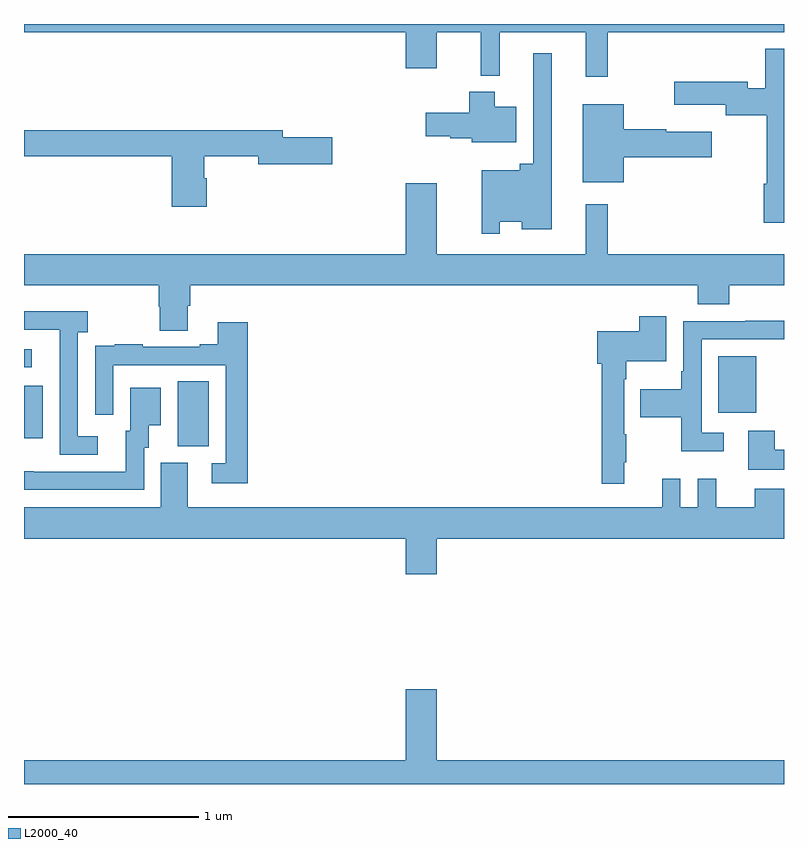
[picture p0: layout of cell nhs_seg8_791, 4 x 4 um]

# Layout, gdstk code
import gdstk
lib = gdstk.Library(unit=1e-6, precision=1e-09)
def R(c, l, rs):  # rectangles x0, y0, x1, y1
    for r in rs: c.add(gdstk.rectangle(r[:2], r[2:], *l))
def P(c, l, *ps):  # polygons
    for p in ps: c.add(gdstk.Polygon(p, *l))
L2000_40 = (2000, 40)

nhs_seg8_791 = lib.new_cell('nhs_seg8_791')
R(nhs_seg8_791, L2000_40, [(163.808,1091.677,163.972,1092.02), (163,1091.721,163.099,1091.995), (166.655,1091.855,166.855,1092.151), (163,1092.093,163.042,1092.189)])
P(nhs_seg8_791, L2000_40, [(163,1093.856),(165.008,1093.856),(165.008,1093.668),(165.172,1093.668),(165.172,1093.856),(165.403,1093.856),(165.403,1093.628),(165.503,1093.628),(165.503,1093.856),(165.956,1093.856),(165.956,1093.623),(166.073,1093.623),(166.073,1093.856),(167,1093.856),(167,1093.9),(163,1093.9)],
  [(167,1093.771),(166.901,1093.771),(166.901,1093.563),(166.81,1093.563),(166.81,1093.597),(166.422,1093.597),(166.422,1093.475),(166.694,1093.475),(166.694,1093.421),(166.909,1093.421),(166.909,1093.058),(166.894,1093.058),(166.894,1092.854),(167,1092.854)],
  [(165.504,1092.86),(165.62,1092.86),(165.62,1092.821),(165.778,1092.821),(165.778,1093.747),(165.681,1093.747),(165.681,1093.165),(165.608,1093.165),(165.608,1093.129),(165.408,1093.129),(165.408,1092.795),(165.504,1092.795)],
  [(165.592,1093.465),(165.478,1093.465),(165.478,1093.543),(165.344,1093.543),(165.344,1093.432),(165.114,1093.432),(165.114,1093.31),(165.243,1093.31),(165.243,1093.298),(165.356,1093.298),(165.356,1093.277),(165.592,1093.277)],
  [(166.156,1093.199),(166.621,1093.199),(166.621,1093.333),(166.38,1093.333),(166.38,1093.346),(166.156,1093.346),(166.156,1093.477),(165.941,1093.477),(165.941,1093.067),(166.156,1093.067)],
  [(163.961,1093.089),(163.948,1093.089),(163.948,1093.204),(164.234,1093.204),(164.234,1093.162),(164.623,1093.162),(164.623,1093.304),(164.362,1093.304),(164.362,1093.34),(163,1093.34),(163,1093.204),(163.778,1093.204),(163.778,1092.939),(163.961,1092.939)],
  [(163.861,1092.418),(163.874,1092.418),(163.874,1092.524),(166.547,1092.524),(166.547,1092.425),(166.712,1092.425),(166.712,1092.524),(167,1092.524),(167,1092.688),(166.073,1092.688),(166.073,1092.952),(165.956,1092.952),(165.956,1092.688),(165.172,1092.688),(165.172,1093.063),(165.008,1093.063),(165.008,1092.688),(163,1092.688),(163,1092.524),(163.709,1092.524),(163.709,1092.411),(163.714,1092.411),(163.714,1092.286),(163.861,1092.286)],
  [(163.387,1091.73),(163.284,1091.73),(163.284,1092.278),(163.336,1092.278),(163.336,1092.388),(163,1092.388),(163,1092.291),(163.187,1092.291),(163.187,1092.091),(163.188,1092.091),(163.188,1091.634),(163.387,1091.634)],
  [(166.16,1091.593),(166.171,1091.593),(166.171,1091.741),(166.158,1091.741),(166.158,1092.029),(166.171,1092.029),(166.171,1092.125),(166.381,1092.125),(166.381,1092.361),(166.238,1092.361),(166.238,1092.283),(166.016,1092.283),(166.016,1092.113),(166.042,1092.113),(166.042,1091.481),(166.16,1091.481)],
  [(166.684,1091.748),(166.566,1091.748),(166.566,1092.24),(167,1092.24),(167,1092.338),(166.795,1092.338),(166.795,1092.336),(166.47,1092.336),(166.47,1092.073),(166.458,1092.073),(166.458,1091.977),(166.243,1091.977),(166.243,1091.83),(166.458,1091.83),(166.458,1091.651),(166.684,1091.651)],
  [(164.177,1092.331),(164.021,1092.331),(164.021,1092.214),(163.925,1092.214),(163.925,1092.201),(163.625,1092.201),(163.625,1092.214),(163.477,1092.214),(163.477,1092.207),(163.375,1092.207),(163.375,1092.098),(163.374,1092.098),(163.374,1091.844),(163.47,1091.844),(163.47,1092.105),(164.061,1092.105),(164.061,1091.589),(163.989,1091.589),(163.989,1091.484),(164.177,1091.484)],
  [(163.632,1091.67),(163.657,1091.67),(163.657,1091.789),(163.72,1091.789),(163.72,1091.986),(163.559,1091.986),(163.559,1091.76),(163.535,1091.76),(163.535,1091.544),(163.051,1091.544),(163.051,1091.545),(163,1091.545),(163,1091.448),(163.632,1091.448)],
  [(167,1091.659),(166.951,1091.659),(166.951,1091.758),(166.811,1091.758),(166.811,1091.555),(167,1091.555)],
  [(165.172,1091.192),(167,1091.192),(167,1091.455),(166.847,1091.455),(166.847,1091.356),(166.643,1091.356),(166.643,1091.506),(166.545,1091.506),(166.545,1091.356),(166.455,1091.356),(166.455,1091.506),(166.358,1091.506),(166.358,1091.356),(163.861,1091.356),(163.861,1091.592),(163.721,1091.592),(163.721,1091.356),(163,1091.356),(163,1091.192),(165.008,1091.192),(165.008,1091.004),(165.172,1091.004)],
  [(167,1090.024),(165.172,1090.024),(165.172,1090.399),(165.008,1090.399),(165.008,1090.024),(163,1090.024),(163,1089.9),(167,1089.9)])

lib.write_gds('nhs_seg8_791.gds')
